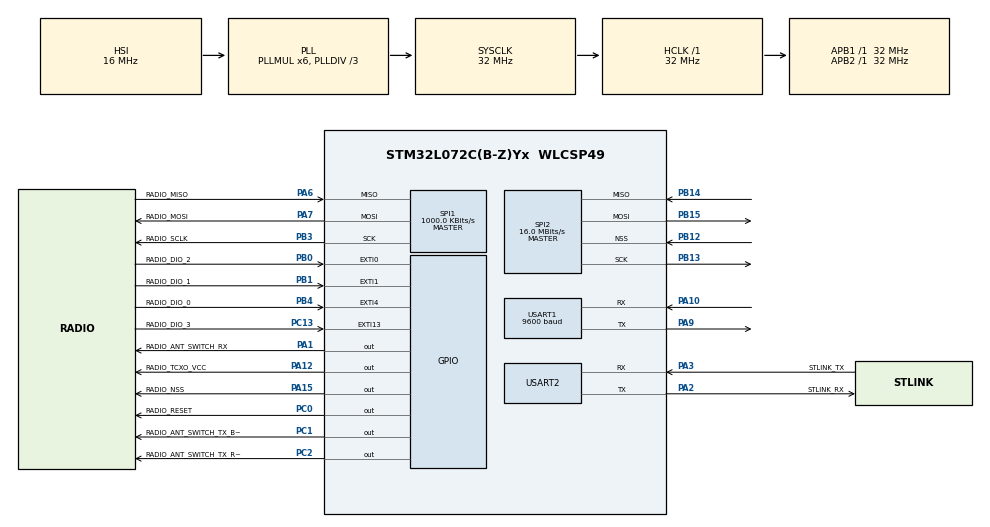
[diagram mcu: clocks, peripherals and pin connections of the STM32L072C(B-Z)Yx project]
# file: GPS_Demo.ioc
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Dma.Request0=USART1_RX
Dma.Request1=USART1_TX
Dma.USART1_RX.0.Direction=DMA_PERIPH_TO_MEMORY
Dma.USART1_RX.0.Instance=DMA1_Channel3
Dma.USART1_RX.0.MemDataAlignment=DMA_MDATAALIGN_BYTE
Dma.USART1_RX.0.MemInc=DMA_MINC_ENABLE
Dma.USART1_RX.0.Mode=DMA_CIRCULAR
Dma.USART1_RX.0.PeriphDataAlignment=DMA_PDATAALIGN_BYTE
Dma.USART1_RX.0.PeriphInc=DMA_PINC_DISABLE
Dma.USART1_RX.0.Priority=DMA_PRIORITY_LOW
Dma.USART1_TX.1.Direction=DMA_MEMORY_TO_PERIPH
Dma.USART1_TX.1.Instance=DMA1_Channel2
Dma.USART1_TX.1.MemDataAlignment=DMA_MDATAALIGN_BYTE
Dma.USART1_TX.1.MemInc=DMA_MINC_ENABLE
Dma.USART1_TX.1.Mode=DMA_NORMAL
Dma.USART1_TX.1.PeriphDataAlignment=DMA_PDATAALIGN_BYTE
Dma.USART1_TX.1.PeriphInc=DMA_PINC_DISABLE
Dma.USART1_TX.1.Priority=DMA_PRIORITY_LOW
Mcu.Family=STM32L0
Mcu.Name=STM32L072C(B-Z)Yx
Mcu.Package=WLCSP49
NVIC.DMA1_Channel2_3_IRQn=true\:0\:0\:false\:false\:true\:false
NVIC.EXTI0_1_IRQn=true\:0\:0\:false\:false\:true\:true
NVIC.EXTI4_15_IRQn=true\:0\:0\:false\:false\:true\:true
NVIC.RTC_IRQn=true\:0\:0\:false\:false\:true\:true
NVIC.USART1_IRQn=true\:0\:0\:false\:false\:true\:true
NVIC.USART2_IRQn=true\:0\:0\:false\:false\:true\:true
PA1.GPIO_Label=RADIO_ANT_SWITCH_RX
PA1.GPIO_Speed=GPIO_SPEED_FREQ_HIGH
PA1.PinState=GPIO_PIN_RESET
PA1.Signal=GPIO_Output
PA10.Mode=Asynchronous
PA10.Signal=USART1_RX
PA12.GPIO_Label=RADIO_TCXO_VCC
PA12.GPIO_Speed=GPIO_SPEED_FREQ_HIGH
PA12.Signal=GPIO_Output
PA15.GPIO_Label=RADIO_NSS
PA15.GPIO_Speed=GPIO_SPEED_FREQ_HIGH
PA15.Signal=GPIO_Output
PA2.GPIO_Label=STLINK_RX
PA2.Mode=Asynchronous
PA2.Signal=USART2_TX
PA3.GPIO_Label=STLINK_TX
PA3.Mode=Asynchronous
PA3.Signal=USART2_RX
PA6.GPIO_Label=RADIO_MISO
PA6.Mode=Full_Duplex_Master
PA6.Signal=SPI1_MISO
PA7.GPIO_Label=RADIO_MOSI
PA7.Mode=Full_Duplex_Master
PA7.Signal=SPI1_MOSI
PA9.Mode=Asynchronous
PA9.Signal=USART1_TX
PB0.GPIO_Label=RADIO_DIO_2
PB0.Signal=GPXTI0
PB1.GPIO_Label=RADIO_DIO_1
PB1.Signal=GPXTI1
PB12.Mode=NSS_Signal_Hard_Input
PB12.Signal=SPI2_NSS
PB13.Mode=Full_Duplex_Master
PB13.Signal=SPI2_SCK
PB14.Mode=Full_Duplex_Master
PB14.Signal=SPI2_MISO
PB15.Mode=Full_Duplex_Master
PB15.Signal=SPI2_MOSI
PB3.GPIO_Label=RADIO_SCLK
PB3.Mode=Full_Duplex_Master
PB3.Signal=SPI1_SCK
PB4.GPIO_Label=RADIO_DIO_0
PB4.Signal=GPXTI4
PC0.GPIO_Label=RADIO_RESET
PC0.GPIO_Speed=GPIO_SPEED_FREQ_HIGH
PC0.Signal=GPIO_Output
PC1.GPIO_Label=RADIO_ANT_SWITCH_TX_BOOST
PC1.GPIO_Speed=GPIO_SPEED_FREQ_HIGH
PC1.Signal=GPIO_Output
PC13.GPIO_Label=RADIO_DIO_3
PC13.Signal=GPXTI13
PC2.GPIO_Label=RADIO_ANT_SWITCH_TX_RFO
PC2.GPIO_Speed=GPIO_SPEED_FREQ_HIGH
PC2.Signal=GPIO_Output
PH0-OSC_IN.Signal=RCC_OSC_IN
PH1-OSC_OUT.Signal=RCC_OSC_OUT
ProjectManager.HeapSize=0x200
ProjectManager.StackSize=0x400
ProjectManager.TargetToolchain=TrueSTUDIO
RCC.AHBFreq_Value=32000000
RCC.APB1Freq_Value=32000000
RCC.APB1TimFreq_Value=32000000
RCC.APB2Freq_Value=32000000
RCC.APB2TimFreq_Value=32000000
RCC.HCLKFreq_Value=32000000
RCC.HSE_VALUE=8000000
RCC.HSI16_VALUE=16000000
RCC.HSI48_VALUE=48000000
RCC.HSI_VALUE=16000000
RCC.LSE_VALUE=32768
RCC.MSI_VALUE=2097000
RCC.PLLDIV=RCC_PLLDIV_3
RCC.PLLMUL=RCC_PLLMUL_6
RCC.SYSCLKFreq_VALUE=32000000
RCC.SYSCLKSource=RCC_SYSCLKSOURCE_PLLCLK
RCC.VCOOutputFreq_Value=96000000
RTC.Alarm-Alarm\ A=RTC_ALARM_A
RTC.AlarmSubSecondMask-Alarm\ A=RTC_ALARMSUBSECONDMASK_NONE
RTC.AsynchPrediv=31
RTC.Format=RTC_FORMAT_BIN
RTC.SynchPrediv=1023
SPI1.BaudRatePrescaler=SPI_BAUDRATEPRESCALER_32
SPI1.CalculateBaudRate=1000.0 KBits/s
SPI1.Direction=SPI_DIRECTION_2LINES
SPI1.Mode=SPI_MODE_MASTER
SPI1.VirtualType=VM_MASTER
SPI2.BaudRatePrescaler=SPI_BAUDRATEPRESCALER_2
SPI2.CalculateBaudRate=16.0 MBits/s
SPI2.Direction=SPI_DIRECTION_2LINES
SPI2.Mode=SPI_MODE_MASTER
SPI2.VirtualNSS=VM_NSSHARD
SPI2.VirtualType=VM_MASTER
USART1.BaudRate=9600
USART1.VirtualMode-Asynchronous=VM_ASYNC
USART2.VirtualMode-Asynchronous=VM_ASYNC
VP_RTC_VS_RTC_Activate.Mode=RTC_Enabled
VP_RTC_VS_RTC_Alarm_A_Intern.Mode=Alarm A
VP_RTC_VS_RTC_Calendar.Mode=RTC_Calendar
board=B-L072Z-LRWAN1

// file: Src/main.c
/* USER CODE BEGIN Header */
/**
  ******************************************************************************
  * @file           : main.c
  * @brief          : Main program body
  ******************************************************************************
  ** This notice applies to any and all portions of this file
  * that are not between comment pairs USER CODE BEGIN and
  * USER CODE END. Other portions of this file, whether
  * inserted by the user or by software development tools
  * are owned by their respective copyright owners.
  *
  * COPYRIGHT(c) 2019 STMicroelectronics
  *
  * Redistribution and use in source and binary forms, with or without modification,
  * are permitted provided that the following conditions are met:
  *   1. Redistributions of source code must retain the above copyright notice,
  *      this list of conditions and the following disclaimer.
  *   2. Redistributions in binary form must reproduce the above copyright notice,
  *      this list of conditions and the following disclaimer in the documentation
  *      and/or other materials provided with the distribution.
  *   3. Neither the name of STMicroelectronics nor the names of its contributors
  *      may be used to endorse or promote products derived from this software
  *      without specific prior written permission.
  *
  * THIS SOFTWARE IS PROVIDED BY THE COPYRIGHT HOLDERS AND CONTRIBUTORS "AS IS"
  * AND ANY EXPRESS OR IMPLIED WARRANTIES, INCLUDING, BUT NOT LIMITED TO, THE
  * IMPLIED WARRANTIES OF MERCHANTABILITY AND FITNESS FOR A PARTICULAR PURPOSE ARE
  * DISCLAIMED. IN NO EVENT SHALL THE COPYRIGHT HOLDER OR CONTRIBUTORS BE LIABLE
  * FOR ANY DIRECT, INDIRECT, INCIDENTAL, SPECIAL, EXEMPLARY, OR CONSEQUENTIAL
  * DAMAGES (INCLUDING, BUT NOT LIMITED TO, PROCUREMENT OF SUBSTITUTE GOODS OR
  * SERVICES; LOSS OF USE, DATA, OR PROFITS; OR BUSINESS INTERRUPTION) HOWEVER
  * CAUSED AND ON ANY THEORY OF LIABILITY, WHETHER IN CONTRACT, STRICT LIABILITY,
  * OR TORT (INCLUDING NEGLIGENCE OR OTHERWISE) ARISING IN ANY WAY OUT OF THE USE
  * OF THIS SOFTWARE, EVEN IF ADVISED OF THE POSSIBILITY OF SUCH DAMAGE.
  *
  ******************************************************************************
  */
/* USER CODE END Header */

#include "main.h"

/* USER CODE BEGIN Includes */

#include "stdio.h"
#include "stdlib.h"
#include "stddef.h"
#include "string.h"
#include "gps.h"
/* USER CODE END Includes */

RTC_HandleTypeDef hrtc;

SPI_HandleTypeDef hspi1;
SPI_HandleTypeDef hspi2;

UART_HandleTypeDef huart1;
UART_HandleTypeDef huart2;
DMA_HandleTypeDef hdma_usart1_rx;
DMA_HandleTypeDef hdma_usart1_tx;

void SystemClock_Config(void);
static void MX_GPIO_Init(void);
static void MX_DMA_Init(void);
static void MX_RTC_Init(void);
static void MX_SPI1_Init(void);
static void MX_SPI2_Init(void);
static void MX_USART2_UART_Init(void);
static void MX_USART1_UART_Init(void);

/* USER CODE BEGIN 0 */
GPS_t* gpsHandle;

#define UARTDMA_BUFFER_SIZE 8
uint8_t GPS_buffer[128];
uint8_t DMA_buffer[128];
uint8_t dma_memcpy_flag;
uint16_t gps_buffer_pointer = 0;

void HAL_UART_RxCpltCallback(UART_HandleTypeDef *huart)
{
	if (huart == &huart1)
	{
		memcpy(GPS_buffer, &DMA_buffer[UARTDMA_BUFFER_SIZE / 2], UARTDMA_BUFFER_SIZE / 2);
		memset(&DMA_buffer[UARTDMA_BUFFER_SIZE / 2], 0, UARTDMA_BUFFER_SIZE / 2);
	}
}
void HAL_UART_RxHalfCpltCallback(UART_HandleTypeDef *huart)
{
	if (huart == &huart1)
	{
		memcpy(GPS_buffer, DMA_buffer, UARTDMA_BUFFER_SIZE / 2);
		memset(DMA_buffer, 0, UARTDMA_BUFFER_SIZE / 2);
	}
}

/* USER CODE END 0 */

int main(void)
{

  /* MCU Configuration--------------------------------------------------------*/

  /* Reset of all peripherals, Initializes the Flash interface and the Systick. */
  HAL_Init();

  /* Configure the system clock */
  SystemClock_Config();

  /* Initialize all configured peripherals */
  MX_GPIO_Init();
  MX_DMA_Init();
  MX_RTC_Init();
  MX_SPI1_Init();
  MX_SPI2_Init();
  MX_USART2_UART_Init();
  MX_USART1_UART_Init();
  /* USER CODE BEGIN 2 */

  gpsHandle = gps_open(GPS_DATA_TYPE_NMEA);

  __HAL_UART_ENABLE_IT(&huart1, UART_IT_IDLE);
  HAL_UART_Receive_DMA(&huart1, DMA_buffer, UARTDMA_BUFFER_SIZE);

  /* USER CODE END 2 */

  /* Infinite loop */
  while (1)
  {

  }
}

void SystemClock_Config(void)
{
  RCC_OscInitTypeDef RCC_OscInitStruct = {0};
  RCC_ClkInitTypeDef RCC_ClkInitStruct = {0};
  RCC_PeriphCLKInitTypeDef PeriphClkInit = {0};

  /**Configure the main internal regulator output voltage
  */
  __HAL_PWR_VOLTAGESCALING_CONFIG(PWR_REGULATOR_VOLTAGE_SCALE1);
  /**Initializes the CPU, AHB and APB busses clocks
  */
  RCC_OscInitStruct.OscillatorType = RCC_OSCILLATORTYPE_HSI|RCC_OSCILLATORTYPE_LSI;
  RCC_OscInitStruct.HSIState = RCC_HSI_ON;
  RCC_OscInitStruct.HSICalibrationValue = RCC_HSICALIBRATION_DEFAULT;
  RCC_OscInitStruct.LSIState = RCC_LSI_ON;
  RCC_OscInitStruct.PLL.PLLState = RCC_PLL_ON;
  RCC_OscInitStruct.PLL.PLLSource = RCC_PLLSOURCE_HSI;
  RCC_OscInitStruct.PLL.PLLMUL = RCC_PLLMUL_6;
  RCC_OscInitStruct.PLL.PLLDIV = RCC_PLLDIV_3;
  if (HAL_RCC_OscConfig(&RCC_OscInitStruct) != HAL_OK)
  {
    Error_Handler();
  }
  /**Initializes the CPU, AHB and APB busses clocks
  */
  RCC_ClkInitStruct.ClockType = RCC_CLOCKTYPE_HCLK|RCC_CLOCKTYPE_SYSCLK
                              |RCC_CLOCKTYPE_PCLK1|RCC_CLOCKTYPE_PCLK2;
  RCC_ClkInitStruct.SYSCLKSource = RCC_SYSCLKSOURCE_PLLCLK;
  RCC_ClkInitStruct.AHBCLKDivider = RCC_SYSCLK_DIV1;
  RCC_ClkInitStruct.APB1CLKDivider = RCC_HCLK_DIV1;
  RCC_ClkInitStruct.APB2CLKDivider = RCC_HCLK_DIV1;

  if (HAL_RCC_ClockConfig(&RCC_ClkInitStruct, FLASH_LATENCY_1) != HAL_OK)
  {
    Error_Handler();
  }
  PeriphClkInit.PeriphClockSelection = RCC_PERIPHCLK_USART1|RCC_PERIPHCLK_USART2
                              |RCC_PERIPHCLK_RTC;
  PeriphClkInit.Usart1ClockSelection = RCC_USART1CLKSOURCE_PCLK2;
  PeriphClkInit.Usart2ClockSelection = RCC_USART2CLKSOURCE_PCLK1;
  PeriphClkInit.RTCClockSelection = RCC_RTCCLKSOURCE_LSI;
  if (HAL_RCCEx_PeriphCLKConfig(&PeriphClkInit) != HAL_OK)
  {
    Error_Handler();
  }
}

static void MX_RTC_Init(void)
{

  RTC_TimeTypeDef sTime = {0};
  RTC_DateTypeDef sDate = {0};
  RTC_AlarmTypeDef sAlarm = {0};

  /**Initialize RTC Only
  */
  hrtc.Instance = RTC;
  hrtc.Init.HourFormat = RTC_HOURFORMAT_24;
  hrtc.Init.AsynchPrediv = 31;
  hrtc.Init.SynchPrediv = 1023;
  hrtc.Init.OutPut = RTC_OUTPUT_DISABLE;
  hrtc.Init.OutPutRemap = RTC_OUTPUT_REMAP_NONE;
  hrtc.Init.OutPutPolarity = RTC_OUTPUT_POLARITY_HIGH;
  hrtc.Init.OutPutType = RTC_OUTPUT_TYPE_OPENDRAIN;
  if (HAL_RTC_Init(&hrtc) != HAL_OK)
  {
    Error_Handler();
  }

  /**Initialize RTC and set the Time and Date
  */
  sTime.Hours = 0;
  sTime.Minutes = 0;
  sTime.Seconds = 0;
  sTime.DayLightSaving = RTC_DAYLIGHTSAVING_NONE;
  sTime.StoreOperation = RTC_STOREOPERATION_RESET;
  if (HAL_RTC_SetTime(&hrtc, &sTime, RTC_FORMAT_BIN) != HAL_OK)
  {
    Error_Handler();
  }
  sDate.WeekDay = RTC_WEEKDAY_MONDAY;
  sDate.Month = RTC_MONTH_JANUARY;
  sDate.Date = 1;
  sDate.Year = 0;

  if (HAL_RTC_SetDate(&hrtc, &sDate, RTC_FORMAT_BIN) != HAL_OK)
  {
    Error_Handler();
  }
  /**Enable the Alarm A
  */
  sAlarm.AlarmTime.Hours = 0;
  sAlarm.AlarmTime.Minutes = 0;
  sAlarm.AlarmTime.Seconds = 0;
  sAlarm.AlarmTime.SubSeconds = 0;
  sAlarm.AlarmTime.DayLightSaving = RTC_DAYLIGHTSAVING_NONE;
  sAlarm.AlarmTime.StoreOperation = RTC_STOREOPERATION_RESET;
  sAlarm.AlarmMask = RTC_ALARMMASK_NONE;
  sAlarm.AlarmSubSecondMask = RTC_ALARMSUBSECONDMASK_NONE;
  sAlarm.AlarmDateWeekDaySel = RTC_ALARMDATEWEEKDAYSEL_DATE;
  sAlarm.AlarmDateWeekDay = 1;
  sAlarm.Alarm = RTC_ALARM_A;
  if (HAL_RTC_SetAlarm_IT(&hrtc, &sAlarm, RTC_FORMAT_BIN) != HAL_OK)
  {
    Error_Handler();
  }

}

static void MX_SPI1_Init(void)
{

  /* SPI1 parameter configuration*/
  hspi1.Instance = SPI1;
  hspi1.Init.Mode = SPI_MODE_MASTER;
  hspi1.Init.Direction = SPI_DIRECTION_2LINES;
  hspi1.Init.DataSize = SPI_DATASIZE_8BIT;
  hspi1.Init.CLKPolarity = SPI_POLARITY_LOW;
  hspi1.Init.CLKPhase = SPI_PHASE_1EDGE;
  hspi1.Init.NSS = SPI_NSS_SOFT;
  hspi1.Init.BaudRatePrescaler = SPI_BAUDRATEPRESCALER_32;
  hspi1.Init.FirstBit = SPI_FIRSTBIT_MSB;
  hspi1.Init.TIMode = SPI_TIMODE_DISABLE;
  hspi1.Init.CRCCalculation = SPI_CRCCALCULATION_DISABLE;
  hspi1.Init.CRCPolynomial = 7;
  if (HAL_SPI_Init(&hspi1) != HAL_OK)
  {
    Error_Handler();
  }

}

static void MX_SPI2_Init(void)
{

  /* SPI2 parameter configuration*/
  hspi2.Instance = SPI2;
  hspi2.Init.Mode = SPI_MODE_MASTER;
  hspi2.Init.Direction = SPI_DIRECTION_2LINES;
  hspi2.Init.DataSize = SPI_DATASIZE_8BIT;
  hspi2.Init.CLKPolarity = SPI_POLARITY_LOW;
  hspi2.Init.CLKPhase = SPI_PHASE_1EDGE;
  hspi2.Init.NSS = SPI_NSS_HARD_INPUT;
  hspi2.Init.BaudRatePrescaler = SPI_BAUDRATEPRESCALER_2;
  hspi2.Init.FirstBit = SPI_FIRSTBIT_MSB;
  hspi2.Init.TIMode = SPI_TIMODE_DISABLE;
  hspi2.Init.CRCCalculation = SPI_CRCCALCULATION_DISABLE;
  hspi2.Init.CRCPolynomial = 7;
  if (HAL_SPI_Init(&hspi2) != HAL_OK)
  {
    Error_Handler();
  }

}

static void MX_USART1_UART_Init(void)
{

  huart1.Instance = USART1;
  huart1.Init.BaudRate = 9600;
  huart1.Init.WordLength = UART_WORDLENGTH_8B;
  huart1.Init.StopBits = UART_STOPBITS_1;
  huart1.Init.Parity = UART_PARITY_NONE;
  huart1.Init.Mode = UART_MODE_TX_RX;
  huart1.Init.HwFlowCtl = UART_HWCONTROL_NONE;
  huart1.Init.OverSampling = UART_OVERSAMPLING_16;
  huart1.Init.OneBitSampling = UART_ONE_BIT_SAMPLE_DISABLE;
  huart1.AdvancedInit.AdvFeatureInit = UART_ADVFEATURE_NO_INIT;
  if (HAL_UART_Init(&huart1) != HAL_OK)
  {
    Error_Handler();
  }

}

static void MX_USART2_UART_Init(void)
{

  huart2.Instance = USART2;
  huart2.Init.BaudRate = 115200;
  huart2.Init.WordLength = UART_WORDLENGTH_8B;
  huart2.Init.StopBits = UART_STOPBITS_1;
  huart2.Init.Parity = UART_PARITY_NONE;
  huart2.Init.Mode = UART_MODE_TX_RX;
  huart2.Init.HwFlowCtl = UART_HWCONTROL_NONE;
  huart2.Init.OverSampling = UART_OVERSAMPLING_16;
  huart2.Init.OneBitSampling = UART_ONE_BIT_SAMPLE_DISABLE;
  huart2.AdvancedInit.AdvFeatureInit = UART_ADVFEATURE_NO_INIT;
  if (HAL_UART_Init(&huart2) != HAL_OK)
  {
    Error_Handler();
  }

}

static void MX_DMA_Init(void)
{
  /* DMA controller clock enable */
  __HAL_RCC_DMA1_CLK_ENABLE();

  /* DMA interrupt init */
  /* DMA1_Channel2_3_IRQn interrupt configuration */
  HAL_NVIC_SetPriority(DMA1_Channel2_3_IRQn, 0, 0);
  HAL_NVIC_EnableIRQ(DMA1_Channel2_3_IRQn);

}

static void MX_GPIO_Init(void)
{
  GPIO_InitTypeDef GPIO_InitStruct = {0};

  /* GPIO Ports Clock Enable */
  __HAL_RCC_GPIOA_CLK_ENABLE();
  __HAL_RCC_GPIOB_CLK_ENABLE();
  __HAL_RCC_GPIOC_CLK_ENABLE();
  __HAL_RCC_GPIOH_CLK_ENABLE();

  /*Configure GPIO pin Output Level */
  HAL_GPIO_WritePin(GPIOA, RADIO_NSS_Pin|RADIO_TCXO_VCC_Pin|RADIO_ANT_SWITCH_RX_Pin, GPIO_PIN_RESET);

  /*Configure GPIO pin Output Level */
  HAL_GPIO_WritePin(GPIOC, RADIO_ANT_SWITCH_TX_BOOST_Pin|RADIO_RESET_Pin|RADIO_ANT_SWITCH_TX_RFO_Pin, GPIO_PIN_RESET);

  /*Configure GPIO pins : RADIO_NSS_Pin RADIO_TCXO_VCC_Pin RADIO_ANT_SWITCH_RX_Pin */
  GPIO_InitStruct.Pin = RADIO_NSS_Pin|RADIO_TCXO_VCC_Pin|RADIO_ANT_SWITCH_RX_Pin;
  GPIO_InitStruct.Mode = GPIO_MODE_OUTPUT_PP;
  GPIO_InitStruct.Pull = GPIO_NOPULL;
  GPIO_InitStruct.Speed = GPIO_SPEED_FREQ_HIGH;
  HAL_GPIO_Init(GPIOA, &GPIO_InitStruct);

  /*Configure GPIO pins : RADIO_DIO_0_Pin RADIO_DIO_1_Pin RADIO_DIO_2_Pin */
  GPIO_InitStruct.Pin = RADIO_DIO_0_Pin|RADIO_DIO_1_Pin|RADIO_DIO_2_Pin;
  GPIO_InitStruct.Mode = GPIO_MODE_IT_RISING;
  GPIO_InitStruct.Pull = GPIO_NOPULL;
  HAL_GPIO_Init(GPIOB, &GPIO_InitStruct);

  /*Configure GPIO pin : RADIO_DIO_3_Pin */
  GPIO_InitStruct.Pin = RADIO_DIO_3_Pin;
  GPIO_InitStruct.Mode = GPIO_MODE_IT_RISING;
  GPIO_InitStruct.Pull = GPIO_NOPULL;
  HAL_GPIO_Init(RADIO_DIO_3_GPIO_Port, &GPIO_InitStruct);

  /*Configure GPIO pins : RADIO_ANT_SWITCH_TX_BOOST_Pin RADIO_RESET_Pin RADIO_ANT_SWITCH_TX_RFO_Pin */
  GPIO_InitStruct.Pin = RADIO_ANT_SWITCH_TX_BOOST_Pin|RADIO_RESET_Pin|RADIO_ANT_SWITCH_TX_RFO_Pin;
  GPIO_InitStruct.Mode = GPIO_MODE_OUTPUT_PP;
  GPIO_InitStruct.Pull = GPIO_NOPULL;
  GPIO_InitStruct.Speed = GPIO_SPEED_FREQ_HIGH;
  HAL_GPIO_Init(GPIOC, &GPIO_InitStruct);

  /* EXTI interrupt init*/
  HAL_NVIC_SetPriority(EXTI0_1_IRQn, 0, 0);
  HAL_NVIC_EnableIRQ(EXTI0_1_IRQn);

  HAL_NVIC_SetPriority(EXTI4_15_IRQn, 0, 0);
  HAL_NVIC_EnableIRQ(EXTI4_15_IRQn);

}

void Error_Handler(void)
{
}

/************************ (C) COPYRIGHT STMicroelectronics *****END OF FILE****/
